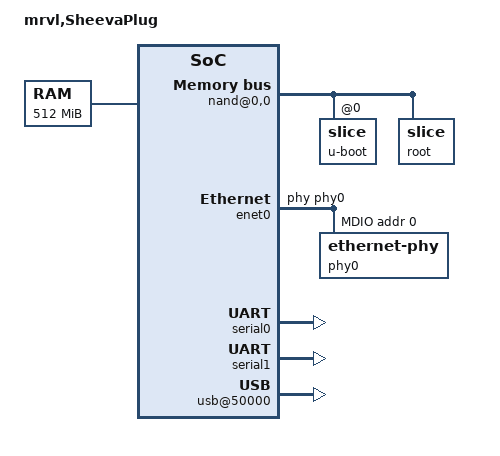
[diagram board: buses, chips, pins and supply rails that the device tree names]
/*
 * Copyright (c) 2010 The FreeBSD Foundation
 * All rights reserved.
 *
 * This software was developed by Semihalf under sponsorship from
 * the FreeBSD Foundation.
 *
 * Redistribution and use in source and binary forms, with or without
 * modification, are permitted provided that the following conditions
 * are met:
 * 1. Redistributions of source code must retain the above copyright
 *    notice, this list of conditions and the following disclaimer.
 * 2. Redistributions in binary form must reproduce the above copyright
 *    notice, this list of conditions and the following disclaimer in the
 *    documentation and/or other materials provided with the distribution.
 *
 * THIS SOFTWARE IS PROVIDED BY THE AUTHOR AND CONTRIBUTORS ``AS IS'' AND
 * ANY EXPRESS OR IMPLIED WARRANTIES, INCLUDING, BUT NOT LIMITED TO, THE
 * IMPLIED WARRANTIES OF MERCHANTABILITY AND FITNESS FOR A PARTICULAR PURPOSE
 * ARE DISCLAIMED. IN NO EVENT SHALL THE AUTHOR OR CONTRIBUTORS BE LIABLE
 * FOR ANY DIRECT, INDIRECT, INCIDENTAL, SPECIAL, EXEMPLARY, OR CONSEQUENTIAL
 * DAMAGES (INCLUDING, BUT NOT LIMITED TO, PROCUREMENT OF SUBSTITUTE GOODS
 * OR SERVICES; LOSS OF USE, DATA, OR PROFITS; OR BUSINESS INTERRUPTION)
 * HOWEVER CAUSED AND ON ANY THEORY OF LIABILITY, WHETHER IN CONTRACT, STRICT
 * LIABILITY, OR TORT (INCLUDING NEGLIGENCE OR OTHERWISE) ARISING IN ANY WAY
 * OUT OF THE USE OF THIS SOFTWARE, EVEN IF ADVISED OF THE POSSIBILITY OF
 * SUCH DAMAGE.
 *
 * Marvell SheevaPlug Device Tree Source.
 *
 * $FreeBSD$
 */

/dts-v1/;

/ {
	model = "mrvl,SheevaPlug";
	compatible = "SheevaPlug";
	#address-cells = <1>;
	#size-cells = <1>;

	aliases {
		ethernet0 = &enet0;
		mpp = &MPP;
		serial0 = &serial0;
		serial1 = &serial1;
		soc = &SOC;
		sram = &SRAM;
	};

	cpus {
		#address-cells = <1>;
		#size-cells = <0>;

		cpu@0 {
			device_type = "cpu";
			compatible = "ARM,88FR131";
			reg = <0x0>;
			d-cache-line-size = <32>;	// 32 bytes
			i-cache-line-size = <32>;	// 32 bytes
			d-cache-size = <0x4000>;	// L1, 16K
			i-cache-size = <0x4000>;	// L1, 16K
			timebase-frequency = <0>;
			bus-frequency = <0>;
			clock-frequency = <0>;
		};
	};

	memory {
		device_type = "memory";
		reg = <0x0 0x20000000>;		// 512M at 0x0
	};

	localbus@0 {
		#address-cells = <2>;
		#size-cells = <1>;
		compatible = "mrvl,lbc";
		bank-count = <3>;

		/* This reflects CPU decode windows setup. */
		ranges = <0x0 0x2f 0xf9300000 0x00100000>;

		nand@0,0 {
			#address-cells = <1>;
			#size-cells = <1>;
			compatible = "mrvl,nfc";
			reg = <0x0 0x0 0x00100000>;
			bank-width = <2>;
			device-width = <1>;

			slice@0 {
				reg = <0x0 0x200000>;
				label = "u-boot";
				read-only;
			};

			slice@200000 {
				reg = <0x200000 0x1fe00000>;
				label = "root";
			};
		};
	};

	SOC: soc88f6281@f1000000 {
		#address-cells = <1>;
		#size-cells = <1>;
		compatible = "simple-bus";
		ranges = <0x0 0xf1000000 0x00100000>;
		bus-frequency = <0>;

		PIC: pic@20200 {
			interrupt-controller;
			#address-cells = <0>;
			#interrupt-cells = <1>;
			reg = <0x20200 0x3c>;
			compatible = "mrvl,pic";
		};

		timer@20300 {
			compatible = "mrvl,timer";
			reg = <0x20300 0x30>;
			interrupts = <1>;
			interrupt-parent = <&PIC>;
			mrvl,has-wdt;
		};

		MPP: mpp@10000 {
			#pin-cells = <2>;
			compatible = "mrvl,mpp";
			reg = <0x10000 0x34>;
			pin-count = <50>;
			pin-map = <
				0  1		/* MPP[0]:  NF_IO[2] */
				1  1		/* MPP[1]:  NF_IO[3] */
				2  1		/* MPP[2]:  NF_IO[4] */
				3  1		/* MPP[3]:  NF_IO[5] */
				4  1		/* MPP[4]:  NF_IO[6] */
				5  1		/* MPP[5]:  NF_IO[7] */
				6  1		/* MPP[6]:  SYSRST_OUTn */
				8  2		/* MPP[8]:  UA0_RTS */
				9  2		/* MPP[9]:  UA0_CTS */
				10 3		/* MPP[10]: UA0_TXD */
				11 3		/* MPP[11]: UA0_RXD */
				12 1		/* MPP[12]: SD_CLK */
				13 1		/* MPP[13]: SD_CMD */
				14 1		/* MPP[14]: SD_D[0] */
				15 1		/* MPP[15]: SD_D[1] */
				16 1		/* MPP[16]: SD_D[2] */
				17 1		/* MPP[17]: SD_D[3] */
				18 1		/* MPP[18]: NF_IO[0] */
				19 1		/* MPP[19]: NF_IO[1] */
				29 1 >;		/* MPP[29]: TSMP[9] */
		};

		GPIO: gpio@10100 {
			#gpio-cells = <2>;
			compatible = "mrvl,gpio";
			reg = <0x10100 0x20>;
			gpio-controller;
			interrupts = <35 36 37 38 39 40 41>;
			interrupt-parent = <&PIC>;
		};

		rtc@10300 {
			compatible = "mrvl,rtc";
			reg = <0x10300 0x08>;
		};

		twsi@11000 {
			#address-cells = <1>;
			#size-cells = <0>;
			compatible = "mrvl,twsi";
			reg = <0x11000 0x20>;
			interrupts = <43>;
			interrupt-parent = <&PIC>;
		};

		enet0: ethernet@72000 {
			#address-cells = <1>;
			#size-cells = <1>;
			model = "V2";
			compatible = "mrvl,ge";
			reg = <0x72000 0x2000>;
			ranges = <0x0 0x72000 0x2000>;
			local-mac-address = [ 00 00 00 00 00 00 ];
			interrupts = <12 13 14 11 46>;
			interrupt-parent = <&PIC>;
			phy-handle = <&phy0>;

			mdio@0 {
				#address-cells = <1>;
				#size-cells = <0>;
				compatible = "mrvl,mdio";

				phy0: ethernet-phy@0 {
					reg = <0x0>;
				};
			};
		};

		serial0: serial@12000 {
			compatible = "ns16550";
			reg = <0x12000 0x20>;
			reg-shift = <2>;
			clock-frequency = <0>;
			interrupts = <33>;
			interrupt-parent = <&PIC>;
		};

		serial1: serial@12100 {
			compatible = "ns16550";
			reg = <0x12100 0x20>;
			reg-shift = <2>;
			clock-frequency = <0>;
			interrupts = <34>;
			interrupt-parent = <&PIC>;
		};

		crypto@30000 {
			compatible = "mrvl,cesa";
			reg = <0x30000 0x1000	/* tdma base reg chan 0 */
			       0x3D000 0x1000>;	/* cesa base reg chan 0 */
			interrupts = <22>;
			interrupt-parent = <&PIC>;

			sram-handle = <&SRAM>;
		};

		usb@50000 {
			compatible = "mrvl,usb-ehci", "usb-ehci";
			reg = <0x50000 0x1000>;
			interrupts = <48 19>;
			interrupt-parent = <&PIC>;
		};

		xor@60000 {
			compatible = "mrvl,xor";
			reg = <0x60000 0x1000>;
			interrupts = <5 6 7 8>;
			interrupt-parent = <&PIC>;
		};
	};

	SRAM: sram@fd000000 {
		compatible = "mrvl,cesa-sram";
		reg = <0xfd000000 0x00100000>;
	};

	chosen {
		stdin = "serial0";
		stdout = "serial0";
	};
};
